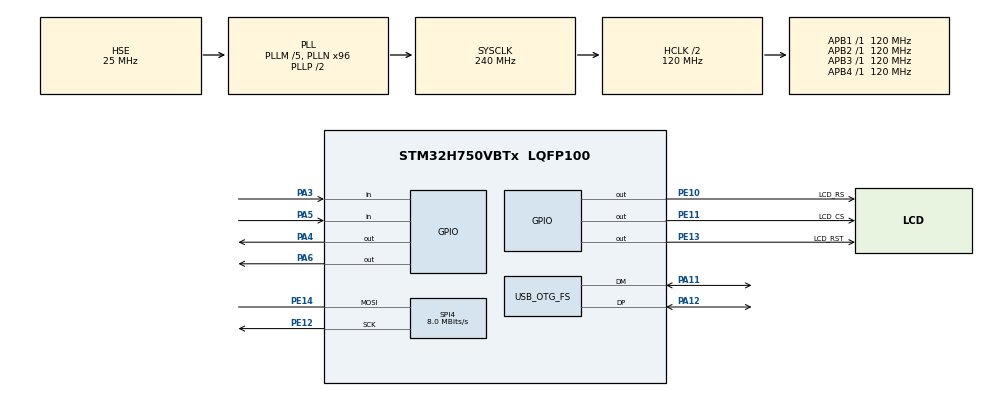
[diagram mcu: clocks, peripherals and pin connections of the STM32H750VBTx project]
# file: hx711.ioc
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CORTEX_M7.CPU_DCache=Enabled
CORTEX_M7.CPU_ICache=Enabled
Mcu.Family=STM32H7
Mcu.Name=STM32H750VBTx
Mcu.Package=LQFP100
NVIC.OTG_FS_IRQn=true\:0\:0\:false\:false\:true\:false\:true\:true
NVIC.PriorityGroup=NVIC_PRIORITYGROUP_4
PA11.Mode=Device_Only
PA11.Signal=USB_OTG_FS_DM
PA12.Mode=Device_Only
PA12.Signal=USB_OTG_FS_DP
PA13\ (JTMS/SWDIO).Mode=Serial_Wire
PA13\ (JTMS/SWDIO).Signal=DEBUG_JTMS-SWDIO
PA14\ (JTCK/SWCLK).Mode=Serial_Wire
PA14\ (JTCK/SWCLK).Signal=DEBUG_JTCK-SWCLK
PA3.Signal=GPIO_Input
PA4.Signal=GPIO_Output
PA5.Signal=GPIO_Input
PA6.Signal=GPIO_Output
PE10.GPIO_Label=LCD_RS
PE10.GPIO_PuPd=GPIO_PULLUP
PE10.GPIO_Speed=GPIO_SPEED_FREQ_VERY_HIGH
PE10.PinState=GPIO_PIN_RESET
PE10.Signal=GPIO_Output
PE11.GPIO_Label=LCD_CS
PE11.GPIO_PuPd=GPIO_PULLUP
PE11.GPIO_Speed=GPIO_SPEED_FREQ_VERY_HIGH
PE11.PinState=GPIO_PIN_RESET
PE11.Signal=GPIO_Output
PE12.GPIO_PuPd=GPIO_PULLUP
PE12.GPIO_Speed=GPIO_SPEED_FREQ_VERY_HIGH
PE12.Mode=Simplex_Bidirectional_Master
PE12.Signal=SPI4_SCK
PE13.GPIO_Label=LCD_RST
PE13.GPIO_PuPd=GPIO_PULLUP
PE13.GPIO_Speed=GPIO_SPEED_FREQ_VERY_HIGH
PE13.PinState=GPIO_PIN_RESET
PE13.Signal=GPIO_Output
PE14.GPIO_PuPd=GPIO_PULLUP
PE14.GPIO_Speed=GPIO_SPEED_FREQ_VERY_HIGH
PE14.Mode=Simplex_Bidirectional_Master
PE14.Signal=SPI4_MOSI
PH0-OSC_IN\ (PH0).Mode=HSE-External-Oscillator
PH0-OSC_IN\ (PH0).Signal=RCC_OSC_IN
PH1-OSC_OUT\ (PH1).Mode=HSE-External-Oscillator
PH1-OSC_OUT\ (PH1).Signal=RCC_OSC_OUT
ProjectManager.HeapSize=0x200
ProjectManager.StackSize=0x400
ProjectManager.TargetToolchain=STM32CubeIDE
RCC.ADCFreq_Value=50390625
RCC.APB1Freq_Value=120000000
RCC.APB2Freq_Value=120000000
RCC.APB3Freq_Value=120000000
RCC.APB4Freq_Value=120000000
RCC.CortexFreq_Value=240000000
RCC.DIVM1=5
RCC.DIVN1=96
RCC.HCLKFreq_Value=120000000
RCC.HPRE=RCC_HCLK_DIV2
RCC.PLLSourceVirtual=RCC_PLLSOURCE_HSE
RCC.SYSCLKFreq_VALUE=240000000
RCC.SYSCLKSource=RCC_SYSCLKSOURCE_PLLCLK
RCC.Spi45ClockSelection=RCC_SPI45CLKSOURCE_HSI
RCC.USBCLockSelection=RCC_USBCLKSOURCE_HSI48
RCC.USBFreq_Value=48000000
SPI4.BaudRatePrescaler=SPI_BAUDRATEPRESCALER_8
SPI4.CalculateBaudRate=8.0 MBits/s
SPI4.DataSize=SPI_DATASIZE_8BIT
SPI4.Direction=SPI_DIRECTION_1LINE
SPI4.Mode=SPI_MODE_MASTER
SPI4.VirtualType=VM_MASTER
USB_DEVICE.CLASS_NAME_FS=CDC
USB_DEVICE.VirtualMode-CDC_FS=Cdc
USB_DEVICE.VirtualModeFS=Cdc_FS
USB_OTG_FS.VirtualMode=Device_Only
VP_TIM1_VS_ClockSourceINT.Mode=Internal
VP_USB_DEVICE_VS_USB_DEVICE_CDC_FS.Mode=CDC_FS
board=custom

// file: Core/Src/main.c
/* USER CODE BEGIN Header */
/**
  ******************************************************************************
  * @file           : main.c
  * @brief          : Main program body
  ******************************************************************************
  * @attention
  *
  * Copyright (c) 2023 STMicroelectronics.
  * All rights reserved.
  *
  * This software is licensed under terms that can be found in the LICENSE file
  * in the root directory of this software component.
  * If no LICENSE file comes with this software, it is provided AS-IS.
  *
  ******************************************************************************
  */
/* USER CODE END Header */
#include "main.h"
#include "spi.h"
#include "tim.h"
#include "gpio.h"

/* USER CODE BEGIN Includes */
#include "stdio.h"
#include "math.h"

#include "delay.h"
#include "sys.h"
#include "lcd.h"
//#include "touch.h"
#include "gui.h"
#include "test.h"

//hx711_t loadcell;
//float weight;
char counter_str[20];
int32_t hx711_value;

/* USER CODE END Includes */

void SystemClock_Config(void);

/* USER CODE BEGIN 0 */

static uint8_t GAIN;	//Gain for clock cycles.

void delay_us1 (uint16_t us) //delay function
{
__HAL_TIM_SET_COUNTER(&htim1,0);  // setting the delay counter to 0.
while (__HAL_TIM_GET_COUNTER(&htim1) < us);  // while loop till the counter reaches the delay given (us).
}

void hx711_powerUp(void) //Power up function
{
	HAL_GPIO_WritePin(GPIOA, GPIO_PIN_4, GPIO_PIN_RESET); //writing to the pin and setting it to 0.
}
void hx711_setGain(uint8_t gain)  //the values should be 32, 64 or 128
{
	if(gain < 64) GAIN = 2; //32, channel B
	else if(gain < 128) GAIN = 3; //64, channel A
	else GAIN = 1; //128, channel A
}

void hx711_init(void) //initializes the hx711 module by calling 2 functions.
{
  hx711_setGain(128); //setting gain to 128, as this was our best result after trying with other gains.
	hx711_powerUp(); //power up the hx711 module.
}

int32_t hx711_get_value(void) //getting the weight from the module.
{
	uint32_t data = 0; //the data (weight) is firstly set to 0.
	uint8_t dout; // this is to show whether at this bit, if theres a number that should be recorded.
	int32_t filler; //to fill the rest of the 32 bits.
	int32_t ret_value; //final value to return after adding the filling and the data together.

	for (uint8_t i = 0; i < 24; i++) //read 24 bit data + set gain and start next conversion
	{

		HAL_GPIO_WritePin(GPIOA, GPIO_PIN_4, GPIO_PIN_SET); //set the clock pin to 1.
		delay_us1(1); //delay
			dout = HAL_GPIO_ReadPin(GPIOA, GPIO_PIN_3); //read from the dout pin in variable dout.
			data = data << 1; //shift the data by 1 to make sure we are in correct position depending on the counter.
			if (dout) //if this bit has an output (value of 1) .
			{
				data++; //it sets the data value at this position as 1 as well.
			}
		HAL_GPIO_WritePin(GPIOA, GPIO_PIN_4, GPIO_PIN_RESET); //set clock pin to 0.
		delay_us1(1); //delay
	}

	for( int i = 0; i < GAIN; i ++ ) //this for loop is for the gain, to add more clock cycles based on the gain.
	{
		HAL_GPIO_WritePin(GPIOA, GPIO_PIN_4, GPIO_PIN_SET); //set clock pin to 1.
		delay_us1(1); //delay
		HAL_GPIO_WritePin(GPIOA, GPIO_PIN_4, GPIO_PIN_RESET); //set clock pin to 0.
		delay_us1(1); //delay, here we are making a clock cycle.
	}

	if( data & 0x800000 ) //here we are checking if theres values in the 24 bits by anding.
		filler = 0xFF000000; //if there are values we add 1's to the last 8 bits which are needed as this is a 32-bit adc.
	else
		filler = 0x00000000; //however, if nothing is in the data we just add 0's.

	ret_value = filler + data; //the return value is the addition of the data with the filler to have the 32-bits.
	return ret_value; //returning the value to be printed.
}

uint8_t hx711_is_ready(void) //making sure that the HX711 module is ready
{
	return HAL_GPIO_ReadPin(GPIOA, GPIO_PIN_3) == GPIO_PIN_RESET; //reading a value from it, the reseting it.
}

/* USER CODE END 0 */

int main(void)
{

  /* Enable I-Cache---------------------------------------------------------*/
  SCB_EnableICache();

  /* Enable D-Cache---------------------------------------------------------*/
  SCB_EnableDCache();

  /* MCU Configuration--------------------------------------------------------*/

  /* Reset of all peripherals, Initializes the Flash interface and the Systick. */
  HAL_Init();

  /* Configure the system clock */
  SystemClock_Config();

  /* Initialize all configured peripherals */
  MX_GPIO_Init();
  MX_TIM1_Init();
  MX_SPI4_Init();
  /* USER CODE BEGIN 2 */
 // HAL_TIM_Base_Start(&htim1);

  hx711_init(); //calling the initialize function.
LCD_Init();

  /* USER CODE END 2 */

  /* Infinite loop */
  while (1)
  {
	 // Test_Color();
    /* USER CODE BEGIN 3 */

	  if( hx711_is_ready()) //if the HX711 module is ready.
	  {
		  hx711_value = hx711_get_value(); //we store the value coming from the get value function.

	  sprintf(counter_str, "Weight : %d g \r\n", (((hx711_value)/1000))+263);//+263
	    //CDC_Transmit_FS((uint8_t*)counter_str, strlen(counter_str));
	   // Gui_StrCenter(0, 30, RED, BLACK, counter_str, 16	, 1);
	  }
	  else
	  	sprintf(counter_str,"Error: HX711 \n\r"); //However, if the HX711 module dosent read any value, this means there is a connection error.
	   // CDC_Transmit_FS((uint8_t*)counter_str, strlen(counter_str));
	    Gui_StrCenter(0, 50, RED, BLACK, counter_str, 16	, 1);
delay_us(10);
	   // HAL_Delay(1000); //creating a delay.

	  //HAL_Delay(500);
	      //weight = hx711_weight(&loadcell, 10);
		  //sprintf(counter_str, "Weight : %d g \r\n", weight);//+263
//main_test();
	      //Gui_StrCenter(0, 50, RED, BLACK, counter_str, 16	, 1);
  }
  /* USER CODE END 3 */
}

void SystemClock_Config(void)
{
  RCC_OscInitTypeDef RCC_OscInitStruct = {0};
  RCC_ClkInitTypeDef RCC_ClkInitStruct = {0};

  /** Supply configuration update enable
  */
  HAL_PWREx_ConfigSupply(PWR_LDO_SUPPLY);

  /** Configure the main internal regulator output voltage
  */
  __HAL_PWR_VOLTAGESCALING_CONFIG(PWR_REGULATOR_VOLTAGE_SCALE2);

  while(!__HAL_PWR_GET_FLAG(PWR_FLAG_VOSRDY)) {}

  /** Initializes the RCC Oscillators according to the specified parameters
  * in the RCC_OscInitTypeDef structure.
  */
  RCC_OscInitStruct.OscillatorType = RCC_OSCILLATORTYPE_HSI|RCC_OSCILLATORTYPE_HSE;
  RCC_OscInitStruct.HSEState = RCC_HSE_ON;
  RCC_OscInitStruct.HSIState = RCC_HSI_DIV1;
  RCC_OscInitStruct.HSICalibrationValue = RCC_HSICALIBRATION_DEFAULT;
  RCC_OscInitStruct.PLL.PLLState = RCC_PLL_ON;
  RCC_OscInitStruct.PLL.PLLSource = RCC_PLLSOURCE_HSE;
  RCC_OscInitStruct.PLL.PLLM = 5;
  RCC_OscInitStruct.PLL.PLLN = 96;
  RCC_OscInitStruct.PLL.PLLP = 2;
  RCC_OscInitStruct.PLL.PLLQ = 2;
  RCC_OscInitStruct.PLL.PLLR = 2;
  RCC_OscInitStruct.PLL.PLLRGE = RCC_PLL1VCIRANGE_2;
  RCC_OscInitStruct.PLL.PLLVCOSEL = RCC_PLL1VCOWIDE;
  RCC_OscInitStruct.PLL.PLLFRACN = 0;
  if (HAL_RCC_OscConfig(&RCC_OscInitStruct) != HAL_OK)
  {
    Error_Handler();
  }

  /** Initializes the CPU, AHB and APB buses clocks
  */
  RCC_ClkInitStruct.ClockType = RCC_CLOCKTYPE_HCLK|RCC_CLOCKTYPE_SYSCLK
                              |RCC_CLOCKTYPE_PCLK1|RCC_CLOCKTYPE_PCLK2
                              |RCC_CLOCKTYPE_D3PCLK1|RCC_CLOCKTYPE_D1PCLK1;
  RCC_ClkInitStruct.SYSCLKSource = RCC_SYSCLKSOURCE_PLLCLK;
  RCC_ClkInitStruct.SYSCLKDivider = RCC_SYSCLK_DIV1;
  RCC_ClkInitStruct.AHBCLKDivider = RCC_HCLK_DIV2;
  RCC_ClkInitStruct.APB3CLKDivider = RCC_APB3_DIV1;
  RCC_ClkInitStruct.APB1CLKDivider = RCC_APB1_DIV1;
  RCC_ClkInitStruct.APB2CLKDivider = RCC_APB2_DIV1;
  RCC_ClkInitStruct.APB4CLKDivider = RCC_APB4_DIV1;

  if (HAL_RCC_ClockConfig(&RCC_ClkInitStruct, FLASH_LATENCY_2) != HAL_OK)
  {
    Error_Handler();
  }
}

void Error_Handler(void)
{
  __disable_irq();
  while (1)
  {
  }
}
